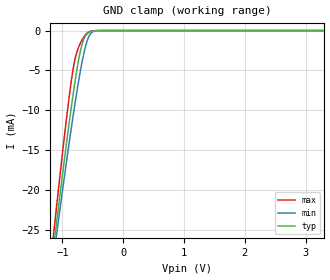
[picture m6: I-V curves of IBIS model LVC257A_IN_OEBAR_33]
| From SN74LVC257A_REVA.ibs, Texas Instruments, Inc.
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[Model]   LVC257A_IN_OEBAR_33
Model_type  Input
Vinl=0.8
Vinh=2.0
| variable   typ   min   max
C_comp   2.54pF   1.95pF   3.17pF
[Temperature Range]   40   100   -40
| Ambient temperature   25   85   -40
[Voltage range]   3.3   3   3.6
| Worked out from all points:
|   GND clamp passes 1 mA (typ) near -0.64 V on its own axis
[GND Clamp]
| LVC257A_IN_OEBAR_33
|   Voltage   I(typ)   I(min)   I(max)
-5.5V     -338.9mA   -314.3mA   -369mA
-1.14V    -26.82mA   -28.07mA   -25.13mA
-1.105V   -24.61mA   -26.05mA   -22.65mA
-1.075V   -22.73mA   -24.34mA   -20.55mA
-915mV    -13.07mA   -15.45mA   -9.893mA
-860mV    -9.954mA   -12.53mA   -6.658mA
-805mV    -7.019mA   -9.733mA   -4.027mA
-730mV    -3.528mA   -6.174mA   -2.02mA
-665mV    -1.428mA   -3.486mA   -1.009mA
-585mV    -362.1uA   -1.111mA   -263.9uA
-510mV    -78.77uA   -204.1uA   -38.82uA
3.3V      76.2pA     212.8pA    43.07pA
